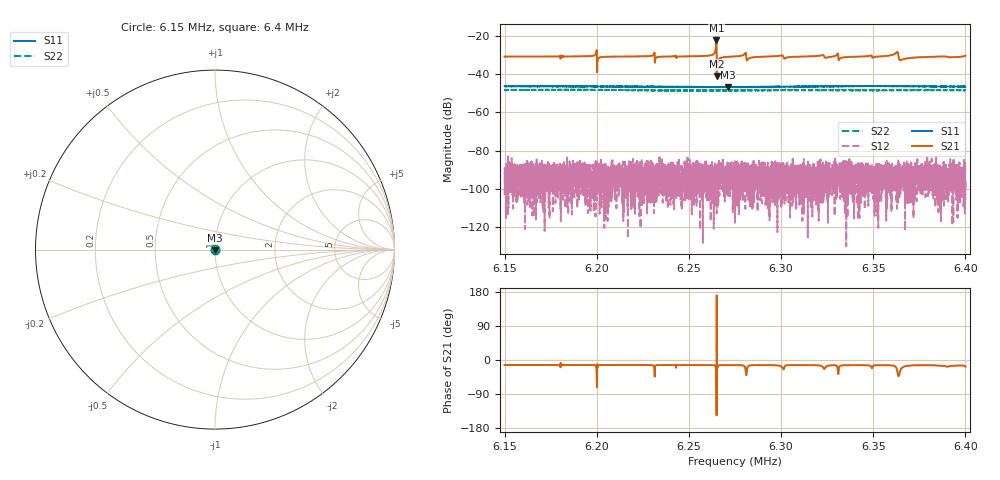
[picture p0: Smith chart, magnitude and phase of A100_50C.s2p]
!CETC41,AV3656A,ZGL00048,1.3.2
!Calibration ON (Full Solt 2-Port(Omit Isolation))
!Measurements: S11 S21 S12 S22
!2025-04-22 22:24
# Hz  S  dB  R 50.000
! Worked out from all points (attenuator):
!   6401 points, 6.15 MHz to 6.4 MHz, reference 50 ohm
!   highest |S21| = -22.34 dB at 6.2649 MHz (marker M1); lowest = -41.0 dB at 6.2651 MHz (marker M2)
!   lowest |S11| = -46.7 dB at 6.2711 MHz (marker M3), VSWR 1.01, Z = 50 - j0.459 ohm
!   |S11| at or under -10 dB: start of sweep to end of sweep
!   |S22| runs from -48.6 to -48.0 dB; largest |S21 - S12| = 0.076
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6150000  -46.28 -93.7  -30.78 -13.1  -103.21 134.1  -48.24 108.0
6191680  -46.37 -94.5  -30.66 -13.2  -91.24 93.5  -48.10 109.6
6198828  -46.46 -94.5  -30.10 -13.5  -95.48 39.9  -48.22 109.7
6201367  -46.42 -94.4  -31.32 -13.4  -97.88 3.7  -48.22 110.0
6230156  -46.51 -93.9  -30.28 -13.7  -93.89 -86.2  -48.39 109.0
6233359  -46.58 -94.4  -30.97 -13.4  -86.91 87.2  -48.33 109.0
6260273  -46.66 -93.7  -30.31 -13.4  -92.88 -174.0  -48.40 108.3
6263789  -46.66 -93.3  -29.13 -14.0  -100.69 98.6  -48.44 108.7
6264922  -46.64 -93.8  -22.34 -75.3  -102.06 92.4  -48.48 108.7
6265117  -46.68 -93.6  -41.01 57.4  -96.36 104.9  -48.47 108.8
6266328  -46.62 -93.5  -32.05 -13.8  -87.56 109.0  -48.53 108.2
6271133  -46.74 -93.3  -30.89 -13.5  -96.29 56.3  -48.41 108.6
6275000  -46.66 -93.2  -30.69 -13.5  -117.68 -157.0  -48.41 108.2
6279844  -46.66 -93.1  -29.78 -15.2  -86.74 -17.5  -48.36 108.4
6282422  -46.61 -93.3  -31.81 -15.3  -95.40 9.5  -48.39 108.6
6316680  -46.37 -93.2  -30.61 -13.6  -97.45 85.0  -48.32 108.9
6329766  -46.33 -93.0  -30.23 -14.3  -87.42 134.5  -48.30 109.3
6332344  -46.29 -93.4  -31.57 -14.9  -92.58 -117.7  -48.34 109.0
6358359  -46.18 -93.6  -30.31 -14.0  -86.86 64.6  -48.30 109.8
6362461  -46.23 -93.7  -28.72 -20.3  -90.52 -1.4  -48.33 109.7
6365352  -46.27 -94.0  -32.45 -21.8  -94.83 38.4  -48.30 110.5
6400000  -46.50 -93.7  -30.35 -17.4  -101.09 -92.5  -48.39 110.3
